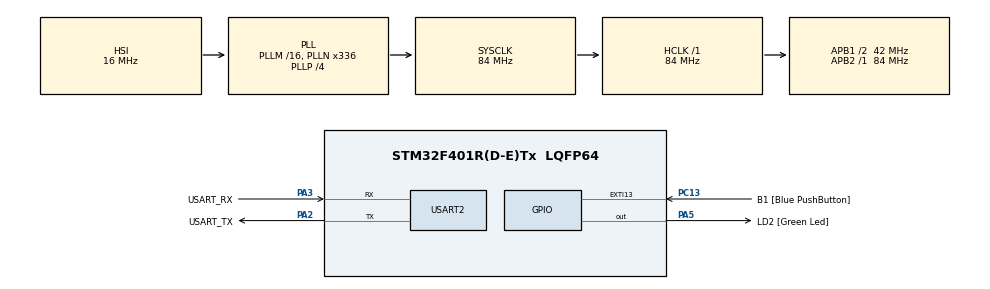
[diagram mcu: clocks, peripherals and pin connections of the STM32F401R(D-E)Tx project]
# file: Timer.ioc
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FREERTOS.Tasks01=defaultTask,0,128,StartDefaultTask,Default,NULL,Dynamic,NULL,NULL
FREERTOS.Timers01=LEDTimer,LEDTimerCallback,osTimerPeriodic,Default,&ledState,Dynamic,NULL
FREERTOS.configUSE_COUNTING_SEMAPHORES=0
FREERTOS.configUSE_TIMERS=1
Mcu.Family=STM32F4
Mcu.Name=STM32F401R(D-E)Tx
Mcu.Package=LQFP64
NVIC.EXTI15_10_IRQn=true\:5\:0\:false\:false\:true\:true\:true\:true
NVIC.PriorityGroup=NVIC_PRIORITYGROUP_4
NVIC.TIM1_TRG_COM_TIM11_IRQn=true\:0\:0\:false\:false\:true\:false\:false\:true
NVIC.TimeBase=TIM1_TRG_COM_TIM11_IRQn
NVIC.TimeBaseIP=TIM11
PA13.GPIO_Label=TMS
PA13.Mode=Trace_Asynchronous_SW
PA13.Signal=SYS_JTMS-SWDIO
PA14.GPIO_Label=TCK
PA14.Mode=Trace_Asynchronous_SW
PA14.Signal=SYS_JTCK-SWCLK
PA2.GPIO_Label=USART_TX
PA2.GPIO_Mode=GPIO_MODE_AF_PP
PA2.GPIO_PuPd=GPIO_NOPULL
PA2.GPIO_Speed=GPIO_SPEED_FREQ_LOW
PA2.Mode=Asynchronous
PA2.Signal=USART2_TX
PA3.GPIO_Label=USART_RX
PA3.GPIO_Mode=GPIO_MODE_AF_PP
PA3.GPIO_PuPd=GPIO_NOPULL
PA3.GPIO_Speed=GPIO_SPEED_FREQ_LOW
PA3.Mode=Asynchronous
PA3.Signal=USART2_RX
PA5.GPIO_Label=LD2 [Green Led]
PA5.GPIO_Mode=GPIO_MODE_OUTPUT_PP
PA5.GPIO_PuPd=GPIO_NOPULL
PA5.GPIO_Speed=GPIO_SPEED_FREQ_LOW
PA5.Signal=GPIO_Output
PB3.GPIO_Label=SWO
PB3.Mode=Trace_Asynchronous_SW
PB3.Signal=SYS_JTDO-SWO
PC13-ANTI_TAMP.GPIO_Label=B1 [Blue PushButton]
PC13-ANTI_TAMP.GPIO_ModeDefaultEXTI=GPIO_MODE_IT_FALLING
PC13-ANTI_TAMP.GPIO_PuPd=GPIO_NOPULL
PC13-ANTI_TAMP.Signal=GPXTI13
PC14-OSC32_IN.Mode=LSE-External-Oscillator
PC14-OSC32_IN.Signal=RCC_OSC32_IN
PC15-OSC32_OUT.Mode=LSE-External-Oscillator
PC15-OSC32_OUT.Signal=RCC_OSC32_OUT
PH0\ -\ OSC_IN.Mode=HSE-External-Clock-Source
PH0\ -\ OSC_IN.Signal=RCC_OSC_IN
PH1\ -\ OSC_OUT.Mode=HSE-External-Clock-Source
PH1\ -\ OSC_OUT.Signal=RCC_OSC_OUT
ProjectManager.HeapSize=0x200
ProjectManager.StackSize=0x400
ProjectManager.TargetToolchain=STM32CubeIDE
RCC.48MHZClocksFreq_Value=48000000
RCC.AHBFreq_Value=84000000
RCC.APB1CLKDivider=RCC_HCLK_DIV2
RCC.APB1Freq_Value=42000000
RCC.APB1TimFreq_Value=84000000
RCC.APB2Freq_Value=84000000
RCC.APB2TimFreq_Value=84000000
RCC.CortexFreq_Value=84000000
RCC.HCLKFreq_Value=84000000
RCC.HSE_VALUE=8000000
RCC.HSI_VALUE=16000000
RCC.PLLN=336
RCC.PLLP=RCC_PLLP_DIV4
RCC.PLLQ=7
RCC.SYSCLKFreq_VALUE=84000000
RCC.SYSCLKSource=RCC_SYSCLKSOURCE_PLLCLK
RCC.VCOOutputFreq_Value=336000000
USART2.VirtualMode=VM_ASYNC
VP_FREERTOS_VS_CMSIS_V1.Mode=CMSIS_V1
VP_SYS_VS_tim11.Mode=TIM11
board=NUCLEO-F401RE

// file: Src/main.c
/* USER CODE BEGIN Header */
/**
  ******************************************************************************
  * @file           : main.c
  * @brief          : Main program body
  ******************************************************************************
  * @attention
  *
  * <h2><center>&copy; Copyright (c) 2019 STMicroelectronics.
  * All rights reserved.</center></h2>
  *
  * This software component is licensed by ST under BSD 3-Clause license,
  * the "License"; You may not use this file except in compliance with the
  * License. You may obtain a copy of the License at:
  *                        opensource.org/licenses/BSD-3-Clause
  *
  ******************************************************************************
  */
/* USER CODE END Header */

#include "main.h"
#include "cmsis_os.h"

/* USER CODE BEGIN Includes */
#include "stdio.h"
/* USER CODE END Includes */

UART_HandleTypeDef huart2;

osThreadId defaultTaskHandle;
osTimerId LEDTimerHandle;

void SystemClock_Config(void);
static void MX_GPIO_Init(void);
static void MX_USART2_UART_Init(void);
void StartDefaultTask(void const * argument);
void LEDTimerCallback(void const * argument);

/* USER CODE BEGIN 0 */
uint32_t ledState = 0;
/* USER CODE END 0 */

int main(void)
{

  /* MCU Configuration--------------------------------------------------------*/

  /* Reset of all peripherals, Initializes the Flash interface and the Systick. */
  HAL_Init();

  /* Configure the system clock */
  SystemClock_Config();

  /* Initialize all configured peripherals */
  MX_GPIO_Init();
  MX_USART2_UART_Init();

  /* Create the timer(s) */
  /* definition and creation of LEDTimer */
  osTimerDef(LEDTimer, LEDTimerCallback);
  LEDTimerHandle = osTimerCreate(osTimer(LEDTimer), osTimerPeriodic, (void*) &ledState);

  /* USER CODE BEGIN RTOS_TIMERS */
  /* start timers, add new ones, ... */
  osTimerStart(LEDTimerHandle, 1000);
  /* USER CODE END RTOS_TIMERS */

  /* Create the thread(s) */
  /* definition and creation of defaultTask */
  osThreadDef(defaultTask, StartDefaultTask, osPriorityNormal, 0, 128);
  defaultTaskHandle = osThreadCreate(osThread(defaultTask), NULL);

  /* Start scheduler */
  osKernelStart();

  /* We should never get here as control is now taken by the scheduler */

  /* Infinite loop */
  while (1)
  {

  }
}

void SystemClock_Config(void)
{
  RCC_OscInitTypeDef RCC_OscInitStruct = {0};
  RCC_ClkInitTypeDef RCC_ClkInitStruct = {0};

  /** Configure the main internal regulator output voltage
  */
  __HAL_RCC_PWR_CLK_ENABLE();
  __HAL_PWR_VOLTAGESCALING_CONFIG(PWR_REGULATOR_VOLTAGE_SCALE2);
  /** Initializes the CPU, AHB and APB busses clocks
  */
  RCC_OscInitStruct.OscillatorType = RCC_OSCILLATORTYPE_HSI;
  RCC_OscInitStruct.HSIState = RCC_HSI_ON;
  RCC_OscInitStruct.HSICalibrationValue = RCC_HSICALIBRATION_DEFAULT;
  RCC_OscInitStruct.PLL.PLLState = RCC_PLL_ON;
  RCC_OscInitStruct.PLL.PLLSource = RCC_PLLSOURCE_HSI;
  RCC_OscInitStruct.PLL.PLLM = 16;
  RCC_OscInitStruct.PLL.PLLN = 336;
  RCC_OscInitStruct.PLL.PLLP = RCC_PLLP_DIV4;
  RCC_OscInitStruct.PLL.PLLQ = 7;
  if (HAL_RCC_OscConfig(&RCC_OscInitStruct) != HAL_OK)
  {
    Error_Handler();
  }
  /** Initializes the CPU, AHB and APB busses clocks
  */
  RCC_ClkInitStruct.ClockType = RCC_CLOCKTYPE_HCLK|RCC_CLOCKTYPE_SYSCLK
                              |RCC_CLOCKTYPE_PCLK1|RCC_CLOCKTYPE_PCLK2;
  RCC_ClkInitStruct.SYSCLKSource = RCC_SYSCLKSOURCE_PLLCLK;
  RCC_ClkInitStruct.AHBCLKDivider = RCC_SYSCLK_DIV1;
  RCC_ClkInitStruct.APB1CLKDivider = RCC_HCLK_DIV2;
  RCC_ClkInitStruct.APB2CLKDivider = RCC_HCLK_DIV1;

  if (HAL_RCC_ClockConfig(&RCC_ClkInitStruct, FLASH_LATENCY_2) != HAL_OK)
  {
    Error_Handler();
  }
}

static void MX_USART2_UART_Init(void)
{

  huart2.Instance = USART2;
  huart2.Init.BaudRate = 115200;
  huart2.Init.WordLength = UART_WORDLENGTH_8B;
  huart2.Init.StopBits = UART_STOPBITS_1;
  huart2.Init.Parity = UART_PARITY_NONE;
  huart2.Init.Mode = UART_MODE_TX_RX;
  huart2.Init.HwFlowCtl = UART_HWCONTROL_NONE;
  huart2.Init.OverSampling = UART_OVERSAMPLING_16;
  if (HAL_UART_Init(&huart2) != HAL_OK)
  {
    Error_Handler();
  }

}

static void MX_GPIO_Init(void)
{
  GPIO_InitTypeDef GPIO_InitStruct = {0};

  /* GPIO Ports Clock Enable */
  __HAL_RCC_GPIOC_CLK_ENABLE();
  __HAL_RCC_GPIOH_CLK_ENABLE();
  __HAL_RCC_GPIOA_CLK_ENABLE();
  __HAL_RCC_GPIOB_CLK_ENABLE();

  /*Configure GPIO pin Output Level */
  HAL_GPIO_WritePin(LD2_GPIO_Port, LD2_Pin, GPIO_PIN_RESET);

  /*Configure GPIO pin : B1_Pin */
  GPIO_InitStruct.Pin = B1_Pin;
  GPIO_InitStruct.Mode = GPIO_MODE_IT_FALLING;
  GPIO_InitStruct.Pull = GPIO_NOPULL;
  HAL_GPIO_Init(B1_GPIO_Port, &GPIO_InitStruct);

  /*Configure GPIO pin : LD2_Pin */
  GPIO_InitStruct.Pin = LD2_Pin;
  GPIO_InitStruct.Mode = GPIO_MODE_OUTPUT_PP;
  GPIO_InitStruct.Pull = GPIO_NOPULL;
  GPIO_InitStruct.Speed = GPIO_SPEED_FREQ_LOW;
  HAL_GPIO_Init(LD2_GPIO_Port, &GPIO_InitStruct);

  /* EXTI interrupt init*/
  HAL_NVIC_SetPriority(EXTI15_10_IRQn, 5, 0);
  HAL_NVIC_EnableIRQ(EXTI15_10_IRQn);

}

/* USER CODE BEGIN 4 */
static uint16_t getLEDState(void const *argument) {

  uint16_t *ledState = pvTimerGetTimerID((TimerHandle_t)argument);

  if (*ledState == 0) {
    *ledState = 1;
  } else {
    *ledState = 0;
  }

  return *ledState;
}
/* USER CODE END 4 */

void StartDefaultTask(void const * argument)
{

  for(;;)
  {
    osDelay(1);
  }
}

/* LEDTimerCallback function */
void LEDTimerCallback(void const * argument)
{
  /* USER CODE BEGIN LEDTimerCallback */
  uint16_t ledState = getLEDState(argument);
  if (ledState == 0) {
    HAL_GPIO_WritePin(LD2_GPIO_Port, LD2_Pin, GPIO_PIN_RESET);
  } else {
    HAL_GPIO_WritePin(LD2_GPIO_Port, LD2_Pin, GPIO_PIN_SET);
  }
  /* USER CODE END LEDTimerCallback */
}

void HAL_TIM_PeriodElapsedCallback(TIM_HandleTypeDef *htim)
{
  if (htim->Instance == TIM11) {
    HAL_IncTick();
  }
}

void Error_Handler(void)
{
}

/************************ (C) COPYRIGHT STMicroelectronics *****END OF FILE****/
